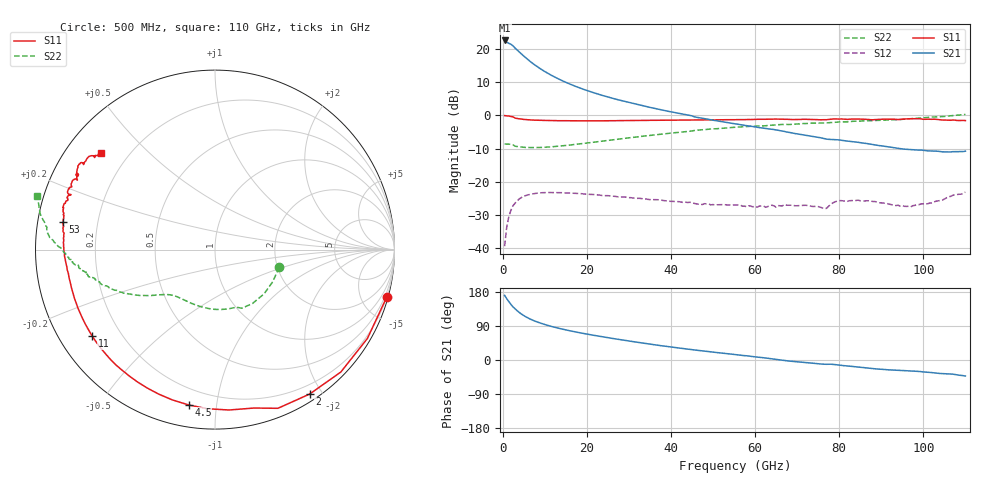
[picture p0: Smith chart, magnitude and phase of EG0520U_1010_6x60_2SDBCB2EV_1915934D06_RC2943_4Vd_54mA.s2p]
!File name = EG0520U_1010_6x60_2SDBCB2EV_1915934D06_RC2943_4Vd_54mA.s2p
!Base file name = EG0520U_1010_6x60_2SDBCB2EV_1915934D06_RC2943
!Date = 8/23/2019
!Time = 1:06 PM
!Test duration(min) = 0.15
!Test = S-Parameters
!MPTS version = 8.91.5
!State File = C:\Data\PNA\20190821205423\S-Parameters_2019-08-23.sta
!Cal File =
!ComputerName = CMPE-LAB-6
!Comments =
!Attenuation = 0
!Z0 = 50
!Input Power(dBm) = -13.00
!Device ID = EG0520U_1010_6x60_2SDBCB2EV
!Row = 29
!Column = 43
!Technology = QPHT09
!Lot/Wafer = 1915934D06
!Gate Size = 360
!Mask = EG0520
!Cal Standards = GaAs BCB
!Cal Kit = EG2306
!Job Number = 20190821205423
!Device Type = FET
!set_Vg(v) = -1.500
!set_Vd(v) = 4.000
!set_Vd(mA) = 54.000
!file_name = EG0520U_1010_6x60_2SDBCB2EV_1915934D06_RC2943_4Vd_54mA.s2p
!Vd(V) = 4.000
!Vd(mA) = 54.059
!Vg(V) = -0.453
!Vg(mA) = -0.002
# GHz  S  DB  R  50
!%	Freq(GHz)  s11(dB)  s11(deg)  s21(dB)  s21(deg)  s12(dB)  s12(deg)  s22(dB)  s22(deg)
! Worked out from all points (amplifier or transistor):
!   220 points, 500 MHz to 110 GHz, reference 50 ohm
!   highest |S21| = 22.6 dB at 500 MHz (marker M1)
!   |S21| within 3 dB of that: start of sweep to 3.571 GHz
!   unconditionally stable (mu >= 1): 30.28 GHz to 96.29 GHz
!   at 18.5 GHz: K = 0.59, MSG = 15.9 dB, |S12| = -23.6 dB
!   at 55.5 GHz: K = 1.68, MAG = 7.4 dB, |S12| = -27.0 dB
!   at 110 GHz: K = -1.41, MSG = 6.2 dB, |S12| = -23.1 dB
!   S11 on the Smith chart (normalised r, x): 500 MHz: 0.19, -7.43; 2 GHz: 0.09, -1.85; 4.5 GHz: 0.11, -0.84; 11 GHz: 0.10, -0.31; 53 GHz: 0.08, +0.09; 110 GHz: 0.10, +0.36
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0.5  -0.06 -15.3  22.61 170.6  -39.47 80.8  -8.61 -15.3
1  -0.15 -30.2  22.13 161.9  -33.72 73.0  -8.68 -29.0
1.5  -0.19 -44.2  21.74 154.2  -30.59 65.5  -8.68 -42.2
2  -0.34 -56.8  21.47 146.8  -28.61 58.6  -8.74 -55.1
2.5  -0.43 -68.4  20.99 140.2  -27.26 52.7  -8.89 -65.4
3  -0.83 -76.1  20.29 135.0  -26.48 48.3  -9.31 -69.6
3.5  -0.94 -85.0  19.70 129.9  -25.75 43.9  -9.41 -77.4
4.5  -1.13 -99.7  18.53 121.2  -24.79 36.6  -9.55 -90.6
5.5  -1.27 -111.2  17.41 114.2  -24.21 30.9  -9.68 -100.6
7  -1.40 -124.2  15.86 105.9  -23.72 24.5  -9.71 -111.3
9  -1.49 -136.2  14.07 97.4  -23.37 18.6  -9.68 -120.2
11  -1.55 -145.0  12.53 90.5  -23.28 14.1  -9.54 -126.5
14.5  -1.61 -155.6  10.29 80.8  -23.36 8.8  -9.15 -133.3
19  -1.65 -164.3  7.98 70.5  -23.66 4.6  -8.50 -138.3
26.5  -1.61 -173.3  5.03 56.3  -24.40 1.7  -7.31 -143.7
37  -1.47 178.5  1.88 38.8  -25.46 2.2  -5.76 -150.7
53  -1.31 169.5  -2.11 17.0  -26.98 9.1  -3.82 -161.7
55.5  -1.30 168.1  -2.59 14.0  -27.04 10.8  -3.56 -163.3
73.5  -1.24 159.6  -6.31 -8.2  -27.46 11.6  -2.32 -172.3
92  -1.17 151.1  -9.56 -26.1  -26.82 -3.3  -1.35 179.7
97  -1.01 149.0  -10.32 -29.0  -27.62 0.3  -1.01 177.6
110  -1.57 139.6  -10.81 -42.2  -23.14 -10.0  0.31 163.4
